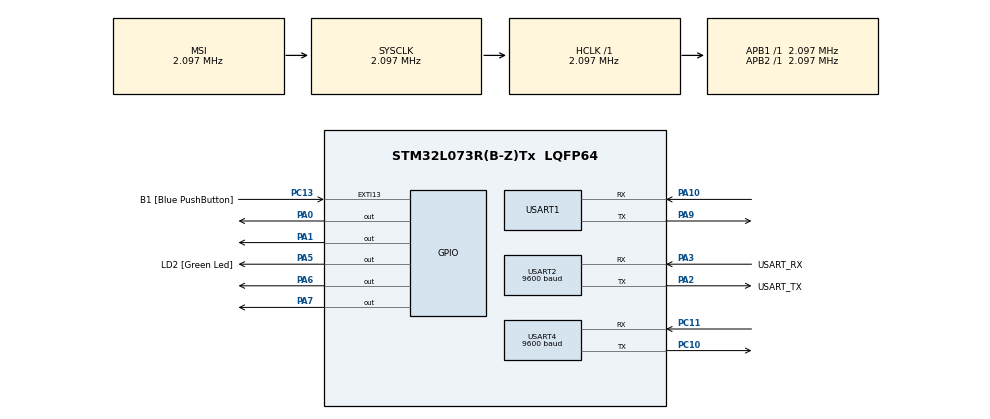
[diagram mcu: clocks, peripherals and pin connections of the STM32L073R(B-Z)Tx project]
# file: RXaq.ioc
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Dma.Request0=USART2_RX
Dma.Request1=USART4_RX
Dma.USART2_RX.0.Direction=DMA_PERIPH_TO_MEMORY
Dma.USART2_RX.0.Instance=DMA1_Channel5
Dma.USART2_RX.0.MemDataAlignment=DMA_MDATAALIGN_BYTE
Dma.USART2_RX.0.MemInc=DMA_MINC_ENABLE
Dma.USART2_RX.0.Mode=DMA_NORMAL
Dma.USART2_RX.0.PeriphDataAlignment=DMA_PDATAALIGN_BYTE
Dma.USART2_RX.0.PeriphInc=DMA_PINC_DISABLE
Dma.USART2_RX.0.Priority=DMA_PRIORITY_LOW
Dma.USART4_RX.1.Direction=DMA_PERIPH_TO_MEMORY
Dma.USART4_RX.1.Instance=DMA1_Channel2
Dma.USART4_RX.1.MemDataAlignment=DMA_MDATAALIGN_BYTE
Dma.USART4_RX.1.MemInc=DMA_MINC_ENABLE
Dma.USART4_RX.1.Mode=DMA_NORMAL
Dma.USART4_RX.1.PeriphDataAlignment=DMA_PDATAALIGN_BYTE
Dma.USART4_RX.1.PeriphInc=DMA_PINC_DISABLE
Dma.USART4_RX.1.Priority=DMA_PRIORITY_LOW
FREERTOS.Tasks01=defaultTask,0,128,StartDefaultTask,Default,NULL,Dynamic,NULL,NULL;RequestTask,-3,512,StartRequestTask,Default,NULL,Dynamic,NULL,NULL
Mcu.Family=STM32L0
Mcu.Name=STM32L073R(B-Z)Tx
Mcu.Package=LQFP64
NVIC.DMA1_Channel2_3_IRQn=true\:3\:0\:false\:false\:true\:true\:true\:true\:true
NVIC.DMA1_Channel4_5_6_7_IRQn=true\:3\:0\:false\:false\:true\:true\:false\:true\:true
NVIC.USART1_IRQn=true\:3\:0\:false\:false\:true\:true\:true\:true\:true
NVIC.USART4_5_IRQn=true\:3\:0\:false\:false\:true\:true\:true\:true\:true
PA0.Signal=GPIO_Output
PA1.Signal=GPIO_Output
PA10.Mode=Asynchronous
PA10.Signal=USART1_RX
PA13.GPIO_Label=TMS
PA13.Mode=Serial_Wire
PA13.Signal=SYS_SWDIO
PA14.GPIO_Label=TCK
PA14.Mode=Serial_Wire
PA14.Signal=SYS_SWCLK
PA2.GPIO_Label=USART_TX
PA2.Mode=Asynchronous
PA2.Signal=USART2_TX
PA3.GPIO_Label=USART_RX
PA3.Mode=Asynchronous
PA3.Signal=USART2_RX
PA5.GPIO_Label=LD2 [Green Led]
PA5.Signal=GPIO_Output
PA6.Signal=GPIO_Output
PA7.Signal=GPIO_Output
PA9.Mode=Asynchronous
PA9.Signal=USART1_TX
PC10.Mode=Asynchronous
PC10.Signal=USART4_TX
PC11.Mode=Asynchronous
PC11.Signal=USART4_RX
PC13.GPIO_Label=B1 [Blue PushButton]
PC13.GPIO_ModeDefaultEXTI=GPIO_MODE_IT_FALLING
PC13.Signal=GPXTI13
PC14-OSC32_IN.Mode=LSE-External-Oscillator
PC14-OSC32_IN.Signal=RCC_OSC32_IN
PC15-OSC32_OUT.Mode=LSE-External-Oscillator
PC15-OSC32_OUT.Signal=RCC_OSC32_OUT
PH0-OSC_IN.GPIO_Label=MCO
PH0-OSC_IN.Mode=HSE-External-Clock-Source
PH0-OSC_IN.Signal=RCC_OSC_IN
ProjectManager.HeapSize=0x200
ProjectManager.StackSize=0x400
ProjectManager.TargetToolchain=STM32CubeIDE
RCC.AHBFreq_Value=2097000
RCC.APB1Freq_Value=2097000
RCC.APB1TimFreq_Value=2097000
RCC.APB2Freq_Value=2097000
RCC.APB2TimFreq_Value=2097000
RCC.HSE_VALUE=8000000
RCC.HSI16_VALUE=16000000
RCC.HSI48_VALUE=48000000
RCC.HSI_VALUE=16000000
RCC.MSI_VALUE=2097000
RCC.SYSCLKFreq_VALUE=2097000
RCC.VCOOutputFreq_Value=48000000
USART1.VirtualMode-Asynchronous=VM_ASYNC
USART2.BaudRate=9600
USART2.VirtualMode-Asynchronous=VM_ASYNC
USART4.BaudRate=9600
USART4.Mode=MODE_TX_RX
USART4.VirtualMode-Asynchronous=VM_ASYNC
VP_FREERTOS_VS_CMSIS_V1.Mode=CMSIS_V1
board=NUCLEO-L073RZ

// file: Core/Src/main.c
/* USER CODE BEGIN Header */
/**
  ******************************************************************************
  * @file           : main.c
  * @brief          : Main program body
  ******************************************************************************
  * @attention
  *
  * Copyright (c) 2025 STMicroelectronics.
  * All rights reserved.
  *
  * This software is licensed under terms that can be found in the LICENSE file
  * in the root directory of this software component.
  * If no LICENSE file comes with this software, it is provided AS-IS.
  *
  ******************************************************************************
  */
/* USER CODE END Header */
#include "main.h"
#include "cmsis_os.h"
#include "dma.h"
#include "usart.h"
#include "gpio.h"

/* USER CODE BEGIN Includes */
//#include "sunroof_control.h"
#include "stm32l0xx_it.h"
#include <stdlib.h>
#include <time.h>
#include "car_device_control.h"
#include "sunroof_control.h"
/* USER CODE END Includes */

/* USER CODE BEGIN PV */
uint8_t rx_buf[4];
uint8_t mode = 0;
uint8_t season = 0;
uint8_t tx_done = 1;  // 송신 완료 플래그

uint16_t in_illum  = 0;
uint16_t out_illum = 0;
uint8_t  rain_flag = 0;

//uint8_t sunroof_command = 0;          // STM_SUN으로 보내는 선루프 제어 명령
uint8_t sunroof_state_sun = 0;        // STM_SUN으로 부터 받아오는 선루프 상태 값
uint8_t sunroof_transparency = 0;     // STM_SUN으로 보내는 선루프 투명도 제어 명령
//uint8_t transparency = 0;
uint8_t sunroof_command = 0;
uint8_t transparency = 0;
volatile uint8_t rx_sensor_sun = 0;
char tx_data[2] = "00";
              // STM_SUN으로 선루프 제어 명령과 투명도 값을 보내는 변수

/* USER CODE END PV */

void SystemClock_Config(void);
void MX_FREERTOS_Init(void);
/* USER CODE BEGIN PFP */
void Send_Sunroof_Command_CGW_to_RPI(char tx_command[]);
void Receive_Sensor_Data_SUN_to_CGW(uint8_t rx_buffer[]);
/* USER CODE END PFP */

/* USER CODE BEGIN 0 */
int __io_putchar(int ch) {
    HAL_UART_Transmit(&huart2, (uint8_t*)&ch, 1, HAL_MAX_DELAY);
    return ch;
}
//int fputc(int ch, FILE *f)
//{
//    HAL_UART_Transmit(&huart2, (uint8_t *)&ch, 1, HAL_MAX_DELAY);
//    return ch;
//}
void init_rand(void)
{
    srand(HAL_GetTick()); // tick을 시드로 사용
}

void HAL_UART_RxCpltCallback(UART_HandleTypeDef *huart)
{

    if (huart->Instance == USART4)// sun으로 부터 센서 값 수신 그런데 선루프 상태값도 받아올라면 5바이트로 받아야할듯? 개오바 ㅋㅋ
    {
//          uint32_t payload = (rx_buf[0] << 24) | (rx_buf[1] << 16) | (rx_buf[2] << 8) | rx_buf[3];

//       	in_illum  				= (payload >> 20) 		& 0x0FFF;
//       	out_illum 				= (payload >> 8)  		& 0x0FFF;
//       	rain_flag 				= (payload >> 7)  		& 0x01;
//       	sunroof_state_sun 		= (payload >> 5) 		& 0x03;
//       	sunroof_transparency 	= (payload) 			& 0x1F;
//       	 char msg[64];
//       	 sprintf(msg, "In: %u, Out: %u, Rain: %u \r\n", in_illum, out_illum, rain_flag);
//       	 printf("%s\r\n", msg);
    	//HAL_Delay(500);
        Receive_Sensor_Data_SUN_to_CGW(rx_buf);
       	rx_sensor_sun = 1;  // 센서 값 수신 완료
       	HAL_UART_Receive_DMA(&huart4, rx_buf, sizeof(rx_buf));
    }
}
/* USER CODE END 0 */

int main(void)
{

  /* MCU Configuration--------------------------------------------------------*/

  /* Reset of all peripherals, Initializes the Flash interface and the Systick. */
  HAL_Init();

  /* Configure the system clock */
  SystemClock_Config();

  /* Initialize all configured peripherals */
  MX_GPIO_Init();
  MX_DMA_Init();
  MX_USART2_UART_Init();
  MX_USART4_UART_Init();
  MX_USART1_UART_Init();
  /* USER CODE BEGIN 2 */
   HAL_UART_Receive_DMA(&huart4, rx_buf, sizeof(rx_buf)); // USART1 수신 시작
  /* USER CODE END 2 */

  /* Call init function for freertos objects (in cmsis_os2.c) */
  MX_FREERTOS_Init();

  /* Start scheduler */
  osKernelStart();

  /* We should never get here as control is now taken by the scheduler */

  /* Infinite loop */
  /* USER CODE BEGIN WHILE */
  while (1)
  {
      // 공기질에 따른 선루프 상태 출력
//	  sunroof_input.benzene_in = 0.004f;
//	  sunroof_input.co_in = rand() % 40;
//	  sunroof_input.co2_in = rand() % 2000;
//	  sunroof_input.smoke_in = rand() % 50;
//	  sunroof_input.benzene_out = 0.002f;
//	  sunroof_input.co_out =  rand() % 40;
//	  sunroof_input.co2_out = rand() % 2000;
//	  sunroof_input.smoke_out = rand() % 50;
//	  sunroof_input.pm25_out = rand() % 30;
//	  sunroof_input.light = rand() % 1200;
//	  sunroof_input.rain_detected = rand() % 2;
//	  sunroof_input.velocity = rand() % 100;
//	  sunroof_input.current_state = rand() % 3;
//
//	  uint8_t sunroof_state = Smart_Sunroof_Control(sunroof_input);
//
//	  switch(sunroof_state)
//	  {
//	  case SUNROOF_CLOSED:
//		  printf("\r\nBefore_Sunroof : %s => After_Sunroof : Close\r\n", sunroof_states[sunroof_input.current_state]);
//		  printf("%s\r\n", buf);
//		  //printf("IN_DI : %.1f\r\n", current_in_di);
//		  //printf("OUT_DI : %.1f\r\n", current_out_di);
//		  break;
//	  case SUNROOF_TILT:
//		  printf("\r\nBefore_Sunroof : %s After_Sunroof : Tilt\r\n", sunroof_states[sunroof_input.current_state]);
//		  printf("%s\r\n", buf);
//		  //printf("IN_DI : %.1f\r\n", current_in_di);
//		  //printf("OUT_DI : %.1f\r\n", current_out_di);
//		  break;
//	  case SUNROOF_OPEN:
//		  printf("\r\nBefore_Sunroof : %s After_Sunroof : Open\r\n", sunroof_states[sunroof_input.current_state]);
//		  printf("%s\r\n", buf);
//		  //printf("IN_DI : %.1f\r\n", current_in_di);
//		  //printf("OUT_DI : %.1f\r\n", current_out_di);
//		  break;
//
//	  }
//
//	  fan_on(in_out_mode);
//	  printf("Fan ON\r\n");
//	  if (in_out_mode == 0)
//	  {
//		  printf("내기모드\r\n");
//	  }
//	  else
//	  {
//		  printf("외기모드\r\n");
//	  }
	  //HAL_Delay(2000);

	  //투명도 출력
//	  int light = rand() % 2001;
//	  uint8_t transparency = calculate_transparency(light);
//	  printf("\r\n transparency : %d\r\n", transparency);
//

	  // 에어컨, 히터 가등
//	  float temp_in      = rand() % 80 -15.0f;
//	  float temp_out     = rand() % 80 -20.0f;
//	  float temp_user    = rand() % 13 + 18.0f;
//	  float humi_in      = rand() % 80;
//	  float humi_out     = rand() % 80;
//
//
//	  if (mode == 0)
//	  {
//		  season = smart_device_command(temp_in, temp_out, temp_user, humi_in, humi_out);
//		 printf("\r\n %s \r\n", buf1);
//		 printf("% DI_IN: %.2f DI_OUT: %.2f \r\n", current_in_di1, current_out_di1);
//		 //printf("ON \r\n");
//		 mode = 1;
//		 HAL_Delay(3000);
//	  }
//	  else
//	  {
//		  user_device_command(season, 0, 24);
//		  printf("OFF\r\n");
//		  mode = 0;
//	  }

		 //보드끼리 uart 통신
	  // 0 닫힘, 1 틸팅, 2 오픈, 3 스탑
	  //	  sunroof_input.benzene_in = 0.004f;
	  //	  sunroof_input.co_in = rand() % 40;
	  //	  sunroof_input.co2_in = rand() % 2000;
	  //	  sunroof_input.smoke_in = rand() % 50;
	  //	  sunroof_input.benzene_out = 0.002f;
	  //	  sunroof_input.co_out =  rand() % 40;
	  //	  sunroof_input.co2_out = rand() % 2000;
	  //	  sunroof_input.smoke_out = rand() % 50;
	  //	  sunroof_input.pm25_out = rand() % 30;
	  //	  sunroof_input.light = rand() % 1200;
	  //	  sunroof_input.rain_detected = rand() % 2;
	  //	  sunroof_input.velocity = rand() % 100;
	  //	  sunroof_input.current_state = rand() % 3;
	  //
	  //	  uint8_t sunroof_state = Smart_Sunroof_Control(sunroof_input);
		  	//state = 0x01;
		  	//snprintf(sendBuf, "%d",state);

	  // send
	  // [0 -> SUN, TP, AC, SM, PS]
	  // [1 -> PSID, PS_TEMP, PS_AQ, PS_DD, PS_BR]
	  /*
	   SUN = 0, 1, 2
	   TP = 0~100
	   AC = ?
	   SM = 0,1
	   PS = 1, 2, 3
	   */
	  //uart 송신 코드 DMA 송신 코드
//	  if (rx_sensor_sun)
//	  {
//			  sunroof_input.benzene_in = 0.003f;
//			  sunroof_input.co_in = rand() % 40;
//			  sunroof_input.co2_in = rand() % 2000;
//			  sunroof_input.smoke_in = rand() % 50;
//			  sunroof_input.benzene_out = 0.002f;
//			  sunroof_input.co_out =  rand() % 40;
//			  sunroof_input.co2_out = rand() % 2000;
//			  sunroof_input.smoke_out = rand() % 50;
//			  sunroof_input.pm25_out = rand() % 30;
//			  sunroof_input.light = out_illum;                     // uart 통해 선루프로부터 들어온 센서 값
//			  sunroof_input.rain_detected = rain_flag;             // uart 통해 선루프로부터 들어온 센서 값
//			  sunroof_input.velocity = rand() % 100;
//			  sunroof_input.current_state = sunroof_state_sun;
//			  //sunroof_command = Smart_Sunroof_Control(sunroof_input);
//			  sunroof_command = rand()%3;
//			  transparency = calculate_transparency(0, sunroof_input.light, 0);
//			  transparency /=5;
//
//			  tx_data[0] = (sunroof_command + '0');
//			  tx_data[1] = transparency;
//
////			  if (sunroof_command != sunroof_state_sun)
////			   {
//			  //HAL_Delay(500);
//			  HAL_UART_Transmit(&huart4, (uint8_t *)tx_data, 2, 100);
//					//Send_Sunroof_Command_CGW_to_RPI(tx_data);
//				printf("Send command %s %d \r\n", tx_data, tx_data[1]);
//			   //}
//			  rx_sensor_sun = 0;
//
//	  }

//	  tx_data[0] = 0x32;
//	  tx_data[1] = 0x30;
//	  HAL_Delay(5000);
//	  HAL_UART_Transmit(&huart4, (uint8_t *)tx_data, strlen(tx_data), 100);
//	  printf("%s\r\n", tx_data);
//
//	  tx_data[0] = 0x31;
//	  tx_data[1] = 0x31;
//	  HAL_Delay(5000);
//	  HAL_UART_Transmit(&huart4, (uint8_t *)tx_data, strlen(tx_data), 100);
//	  printf("%s\r\n", tx_data);

//0닫힘 1 틸팅, 2 오픈, 3스탑

    /* USER CODE END WHILE */

  }
}

void SystemClock_Config(void)
{
  RCC_OscInitTypeDef RCC_OscInitStruct = {0};
  RCC_ClkInitTypeDef RCC_ClkInitStruct = {0};
  RCC_PeriphCLKInitTypeDef PeriphClkInit = {0};

  /** Configure the main internal regulator output voltage
  */
  __HAL_PWR_VOLTAGESCALING_CONFIG(PWR_REGULATOR_VOLTAGE_SCALE1);

  /** Initializes the RCC Oscillators according to the specified parameters
  * in the RCC_OscInitTypeDef structure.
  */
  RCC_OscInitStruct.OscillatorType = RCC_OSCILLATORTYPE_MSI;
  RCC_OscInitStruct.MSIState = RCC_MSI_ON;
  RCC_OscInitStruct.MSICalibrationValue = 0;
  RCC_OscInitStruct.MSIClockRange = RCC_MSIRANGE_5;
  RCC_OscInitStruct.PLL.PLLState = RCC_PLL_NONE;
  if (HAL_RCC_OscConfig(&RCC_OscInitStruct) != HAL_OK)
  {
    Error_Handler();
  }

  /** Initializes the CPU, AHB and APB buses clocks
  */
  RCC_ClkInitStruct.ClockType = RCC_CLOCKTYPE_HCLK|RCC_CLOCKTYPE_SYSCLK
                              |RCC_CLOCKTYPE_PCLK1|RCC_CLOCKTYPE_PCLK2;
  RCC_ClkInitStruct.SYSCLKSource = RCC_SYSCLKSOURCE_MSI;
  RCC_ClkInitStruct.AHBCLKDivider = RCC_SYSCLK_DIV1;
  RCC_ClkInitStruct.APB1CLKDivider = RCC_HCLK_DIV1;
  RCC_ClkInitStruct.APB2CLKDivider = RCC_HCLK_DIV1;

  if (HAL_RCC_ClockConfig(&RCC_ClkInitStruct, FLASH_LATENCY_0) != HAL_OK)
  {
    Error_Handler();
  }
  PeriphClkInit.PeriphClockSelection = RCC_PERIPHCLK_USART1|RCC_PERIPHCLK_USART2;
  PeriphClkInit.Usart1ClockSelection = RCC_USART1CLKSOURCE_PCLK2;
  PeriphClkInit.Usart2ClockSelection = RCC_USART2CLKSOURCE_PCLK1;
  if (HAL_RCCEx_PeriphCLKConfig(&PeriphClkInit) != HAL_OK)
  {
    Error_Handler();
  }
}

/* USER CODE BEGIN 4 */
void Send_Sunroof_Command_CGW_to_RPI(char tx_command[])
{
  HAL_UART_Transmit(&huart4, (uint8_t *)tx_command, 2, 100);
}
void Receive_Sensor_Data_SUN_to_CGW(uint8_t rx_buffer[])
{
    uint32_t payload = (rx_buffer[0] << 24) | (rx_buffer[1] << 16) | (rx_buffer[2] << 8) | rx_buffer[3];
	in_illum  				= (payload >> 20) 		& 0x0FFF;
	out_illum 				= (payload >> 8)  		& 0x0FFF;
	rain_flag 				= (payload >> 7)  		& 0x01;
	sunroof_state_sun 		= (payload >> 5) 		& 0x03;
	sunroof_transparency 	= (payload) 			& 0x1F;
	char msg[64];
	sprintf(msg, "In: %u, Out: %u, Rain: %u \r\n", in_illum, out_illum, rain_flag);
	printf("%s\r\n", msg);
}
void HAL_UART_TxCpltCallback(UART_HandleTypeDef *huart)
{
    if (huart->Instance == USART4)
    {
        tx_done = 1;  // 송신 완료 표시
    }
}

/* USER CODE END 4 */

void Error_Handler(void)
{
  __disable_irq();
  while (1)
  {
  }
}

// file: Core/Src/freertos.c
/* USER CODE BEGIN Header */
/**
  ******************************************************************************
  * File Name          : freertos.c
  * Description        : Code for freertos applications
  ******************************************************************************
  * @attention
  *
  * Copyright (c) 2025 STMicroelectronics.
  * All rights reserved.
  *
  * This software is licensed under terms that can be found in the LICENSE file
  * in the root directory of this software component.
  * If no LICENSE file comes with this software, it is provided AS-IS.
  *
  ******************************************************************************
  */
/* USER CODE END Header */

#include "FreeRTOS.h"
#include "task.h"
#include "main.h"
#include "cmsis_os.h"

/* USER CODE BEGIN Includes */
#include <stdio.h>
#include "usart.h"
/* USER CODE END Includes */

osThreadId defaultTaskHandle;
osThreadId RequestTaskHandle;

void StartDefaultTask(void const * argument);
void StartRequestTask(void const * argument);

void MX_FREERTOS_Init(void); /* (MISRA C 2004 rule 8.1) */

/* GetIdleTaskMemory prototype (linked to static allocation support) */
void vApplicationGetIdleTaskMemory( StaticTask_t **ppxIdleTaskTCBBuffer, StackType_t **ppxIdleTaskStackBuffer, uint32_t *pulIdleTaskStackSize );

/* USER CODE BEGIN GET_IDLE_TASK_MEMORY */
static StaticTask_t xIdleTaskTCBBuffer;
static StackType_t xIdleStack[configMINIMAL_STACK_SIZE];

void vApplicationGetIdleTaskMemory( StaticTask_t **ppxIdleTaskTCBBuffer, StackType_t **ppxIdleTaskStackBuffer, uint32_t *pulIdleTaskStackSize )
{
  *ppxIdleTaskTCBBuffer = &xIdleTaskTCBBuffer;
  *ppxIdleTaskStackBuffer = &xIdleStack[0];
  *pulIdleTaskStackSize = configMINIMAL_STACK_SIZE;
  /* place for user code */
}
/* USER CODE END GET_IDLE_TASK_MEMORY */

void MX_FREERTOS_Init(void) {

  /* Create the thread(s) */
  /* definition and creation of defaultTask */
  osThreadDef(defaultTask, StartDefaultTask, osPriorityNormal, 0, 128);
  defaultTaskHandle = osThreadCreate(osThread(defaultTask), NULL);

  /* definition and creation of RequestTask */
  osThreadDef(RequestTask, StartRequestTask, osPriorityIdle, 0, 512);
  RequestTaskHandle = osThreadCreate(osThread(RequestTask), NULL);

}

void StartDefaultTask(void const * argument)
{
  for(;;)
  {
    osDelay(1);
  }
}

void StartRequestTask(void const * argument)
{
  /* USER CODE BEGIN StartRequestTask */
	char tx_request[2]= "00";
  /* Infinite loop */
  for(;;)
  {
	tx_request[0]=0xFF;
	tx_request[1]=0xFF;
	HAL_UART_Transmit(&huart4, (uint8_t *)tx_request, 2, 100); // SUN에 나한테 데이터 보내라고 요청

	osDelay(100);

	  if (rx_sensor_sun)
	 	  {
		  	  	  sunroof_command = 1;
		  	  	  transparency = 12;
	 			  tx_data[0] = (sunroof_command + '0');
	 			  tx_data[1] = transparency;
	 			  HAL_UART_Transmit(&huart4, (uint8_t *)tx_data, 2, 100);
	 				printf("Send command %s \r\n", tx_data);
	 			  rx_sensor_sun = 0;

	 	  }
    osDelay(9900);
  }
  /* USER CODE END StartRequestTask */
}
